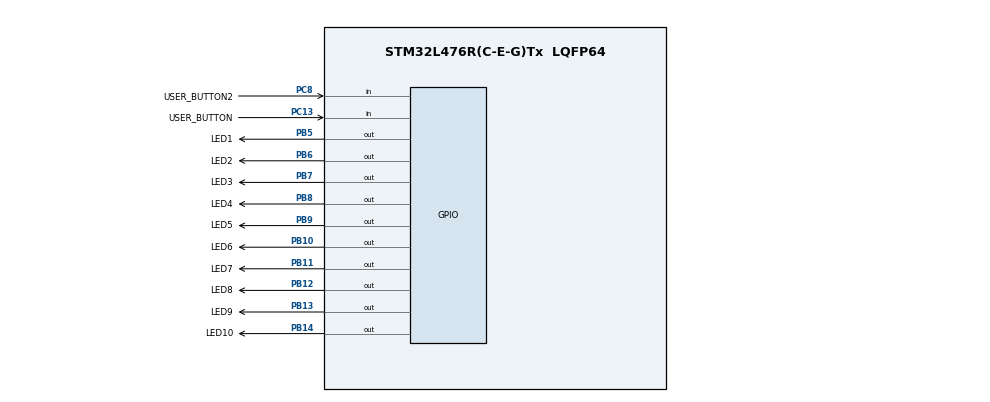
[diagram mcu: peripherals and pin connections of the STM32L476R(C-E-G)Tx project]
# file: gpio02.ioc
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Mcu.Family=STM32L4
Mcu.Name=STM32L476R(C-E-G)Tx
Mcu.Package=LQFP64
NVIC.PriorityGroup=NVIC_PRIORITYGROUP_4
PB10.GPIO_Label=LED6
PB10.Signal=GPIO_Output
PB11.GPIO_Label=LED7
PB11.Signal=GPIO_Output
PB12.GPIO_Label=LED8
PB12.Signal=GPIO_Output
PB13.GPIO_Label=LED9
PB13.Signal=GPIO_Output
PB14.GPIO_Label=LED10
PB14.Signal=GPIO_Output
PB5.GPIO_Label=LED1
PB5.Signal=GPIO_Output
PB6.GPIO_Label=LED2
PB6.Signal=GPIO_Output
PB7.GPIO_Label=LED3
PB7.Signal=GPIO_Output
PB8.GPIO_Label=LED4
PB8.Signal=GPIO_Output
PB9.GPIO_Label=LED5
PB9.Signal=GPIO_Output
PC13.GPIO_Label=USER_BUTTON
PC13.Signal=GPIO_Input
PC8.GPIO_Label=USER_BUTTON2
PC8.GPIO_PuPd=GPIO_PULLUP
PC8.Signal=GPIO_Input
ProjectManager.HeapSize=0x200
ProjectManager.StackSize=0x400
ProjectManager.TargetToolchain=STM32CubeIDE
RCC.HSE_VALUE=8000000
RCC.HSI_VALUE=16000000
RCC.LSE_VALUE=32768
RCC.MSI_VALUE=4000000
RCC.VCOOutputFreq_Value=32000000
board=custom

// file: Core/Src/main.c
/* USER CODE BEGIN Header */
/**
  ******************************************************************************
  * @file           : main.c
  * @brief          : Main program body
  ******************************************************************************
  * @attention
  *
  * Copyright (c) 2025 STMicroelectronics.
  * All rights reserved.
  *
  * This software is licensed under terms that can be found in the LICENSE file
  * in the root directory of this software component.
  * If no LICENSE file comes with this software, it is provided AS-IS.
  *
  ******************************************************************************
  */
/* USER CODE END Header */
#include "main.h"

/* USER CODE BEGIN Includes */
#include <stdbool.h>

/* USER CODE END Includes */

void SystemClock_Config(void);
static void MX_GPIO_Init(void);

/* USER CODE BEGIN 0 */
typedef struct {
	GPIO_TypeDef* port;
	uint16_t pin;
}pin_t;

static const pin_t LED[] = {
		{ LED1_GPIO_Port, LED1_Pin },
		{ LED2_GPIO_Port, LED2_Pin },
		{ LED3_GPIO_Port, LED3_Pin },
		{ LED4_GPIO_Port, LED4_Pin },
		{ LED5_GPIO_Port, LED5_Pin },
		{ LED6_GPIO_Port, LED6_Pin },
		{ LED7_GPIO_Port, LED7_Pin },
		{ LED8_GPIO_Port, LED8_Pin },
		{ LED9_GPIO_Port, LED9_Pin },
		{ LED10_GPIO_Port, LED10_Pin },
};

void led_set(int led, bool turn_on)
{
	GPIO_PinState state = (turn_on) ? GPIO_PIN_SET : GPIO_PIN_RESET;
	if (led >= 0 && led < 10) {
		HAL_GPIO_WritePin(LED[led].port, LED[led].pin, state);
        }
}

bool is_button_pressed(int button) {
  switch (button) {
  case 0:
    if (HAL_GPIO_ReadPin(USER_BUTTON_GPIO_Port, USER_BUTTON_Pin) == GPIO_PIN_RESET) {
      return true;
    } else {
      return false;
    }
  case 1:
    if (HAL_GPIO_ReadPin(USER_BUTTON2_GPIO_Port, USER_BUTTON2_Pin) == GPIO_PIN_RESET) {
      return true;
    } else {
      return false;
    }
  default:
    return false;
  }
}
/* USER CODE END 0 */

int main(void)
{

  /* MCU Configuration--------------------------------------------------------*/

  /* Reset of all peripherals, Initializes the Flash interface and the Systick. */
  HAL_Init();

  /* Configure the system clock */
  SystemClock_Config();

  /* Initialize all configured peripherals */
  MX_GPIO_Init();

  /* Infinite loop */
  /* USER CODE BEGIN WHILE */
  int led = 0;
  led_set(led, true);

  while (1)
  {
	  if (is_button_pressed(0)) {
	  		// Po wcisnieciu przycisku wylacz diodę
	  		led_set(led, false);
	  		// Zwieksz zawartosc zmiennej led
	  		led++;
	  		// Sprawdz czy nie przekracza zakresu
	  		if (led >= 10) {
	  		  led = 0;
	  		}
	  		// Wlacz kolejna diode
	  		led_set(led, true);
	  		// czekamy na zwolnienie przycisku
	  		while (is_button_pressed(0)) {}
	  	}
	  	if (is_button_pressed(1)) {
	  		// Po wcisnieciu przycisku wylacz diodę
	  		led_set(led, false);
	  		// Zmniejsz zawartosc zmiennej led
	  		led--;
	  		// Sprawdz czy nie przekracza zakresu
	  		if (led < 0) {
	  		  led = 9;
	  		}
	  		// Wlacz kolejna diode
	  		led_set(led, true);

	  		HAL_Delay(20);

	  		// czekamy na zwolnienie przycisku
	  		while (is_button_pressed(1)) {}

	  		HAL_Delay(20);
	  	}
/*	  for (int i = 0; i < 10; i++) {
	      // zapal diodę
	      led_set(i, true);
	      // poczekaj 100 ms
	      HAL_Delay(100);
	      // zgaś diodę
	      led_set(i, false);
	    }
*/

    /* USER CODE END WHILE */

  }
}

void SystemClock_Config(void)
{
  RCC_OscInitTypeDef RCC_OscInitStruct = {0};
  RCC_ClkInitTypeDef RCC_ClkInitStruct = {0};

  /** Configure the main internal regulator output voltage
  */
  if (HAL_PWREx_ControlVoltageScaling(PWR_REGULATOR_VOLTAGE_SCALE1) != HAL_OK)
  {
    Error_Handler();
  }

  /** Initializes the RCC Oscillators according to the specified parameters
  * in the RCC_OscInitTypeDef structure.
  */
  RCC_OscInitStruct.OscillatorType = RCC_OSCILLATORTYPE_MSI;
  RCC_OscInitStruct.MSIState = RCC_MSI_ON;
  RCC_OscInitStruct.MSICalibrationValue = 0;
  RCC_OscInitStruct.MSIClockRange = RCC_MSIRANGE_6;
  RCC_OscInitStruct.PLL.PLLState = RCC_PLL_NONE;
  if (HAL_RCC_OscConfig(&RCC_OscInitStruct) != HAL_OK)
  {
    Error_Handler();
  }

  /** Initializes the CPU, AHB and APB buses clocks
  */
  RCC_ClkInitStruct.ClockType = RCC_CLOCKTYPE_HCLK|RCC_CLOCKTYPE_SYSCLK
                              |RCC_CLOCKTYPE_PCLK1|RCC_CLOCKTYPE_PCLK2;
  RCC_ClkInitStruct.SYSCLKSource = RCC_SYSCLKSOURCE_MSI;
  RCC_ClkInitStruct.AHBCLKDivider = RCC_SYSCLK_DIV1;
  RCC_ClkInitStruct.APB1CLKDivider = RCC_HCLK_DIV1;
  RCC_ClkInitStruct.APB2CLKDivider = RCC_HCLK_DIV1;

  if (HAL_RCC_ClockConfig(&RCC_ClkInitStruct, FLASH_LATENCY_0) != HAL_OK)
  {
    Error_Handler();
  }
}

static void MX_GPIO_Init(void)
{
  GPIO_InitTypeDef GPIO_InitStruct = {0};

  /* GPIO Ports Clock Enable */
  __HAL_RCC_GPIOC_CLK_ENABLE();
  __HAL_RCC_GPIOB_CLK_ENABLE();

  /*Configure GPIO pin Output Level */
  HAL_GPIO_WritePin(GPIOB, LED6_Pin|LED7_Pin|LED8_Pin|LED9_Pin
                          |LED10_Pin|LED1_Pin|LED2_Pin|LED3_Pin
                          |LED4_Pin|LED5_Pin, GPIO_PIN_RESET);

  /*Configure GPIO pin : USER_BUTTON_Pin */
  GPIO_InitStruct.Pin = USER_BUTTON_Pin;
  GPIO_InitStruct.Mode = GPIO_MODE_INPUT;
  GPIO_InitStruct.Pull = GPIO_NOPULL;
  HAL_GPIO_Init(USER_BUTTON_GPIO_Port, &GPIO_InitStruct);

  /*Configure GPIO pins : LED6_Pin LED7_Pin LED8_Pin LED9_Pin
                           LED10_Pin LED1_Pin LED2_Pin LED3_Pin
                           LED4_Pin LED5_Pin */
  GPIO_InitStruct.Pin = LED6_Pin|LED7_Pin|LED8_Pin|LED9_Pin
                          |LED10_Pin|LED1_Pin|LED2_Pin|LED3_Pin
                          |LED4_Pin|LED5_Pin;
  GPIO_InitStruct.Mode = GPIO_MODE_OUTPUT_PP;
  GPIO_InitStruct.Pull = GPIO_NOPULL;
  GPIO_InitStruct.Speed = GPIO_SPEED_FREQ_LOW;
  HAL_GPIO_Init(GPIOB, &GPIO_InitStruct);

  /*Configure GPIO pin : USER_BUTTON2_Pin */
  GPIO_InitStruct.Pin = USER_BUTTON2_Pin;
  GPIO_InitStruct.Mode = GPIO_MODE_INPUT;
  GPIO_InitStruct.Pull = GPIO_PULLUP;
  HAL_GPIO_Init(USER_BUTTON2_GPIO_Port, &GPIO_InitStruct);

}

void Error_Handler(void)
{
  __disable_irq();
  while (1)
  {
  }
}
